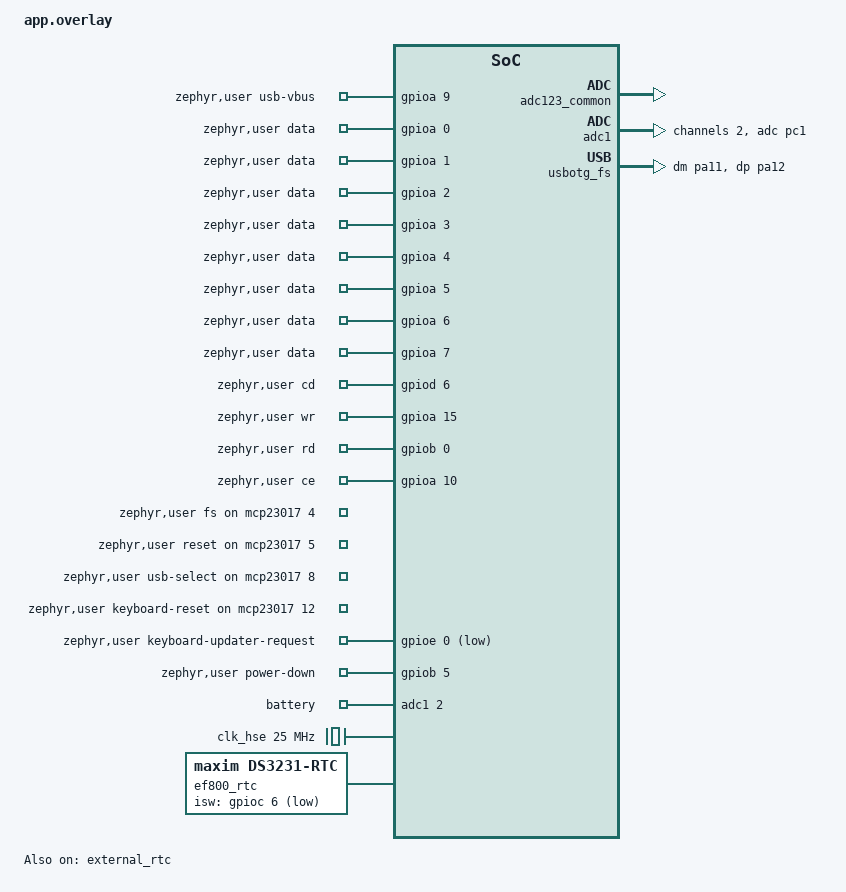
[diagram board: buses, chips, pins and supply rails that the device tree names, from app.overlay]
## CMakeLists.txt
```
# SPDX-License-Identifier: Apache-2.0
cmake_minimum_required(VERSION 3.28.0)

set(BOARD_ROOT ${CMAKE_CURRENT_LIST_DIR}/../..)
set(DTS_ROOT ${CMAKE_CURRENT_LIST_DIR}/../..)
set(PLUGIN_MANAGER_DIR "${CMAKE_CURRENT_LIST_DIR}/../../../modules/lib/PluginManager" CACHE PATH
	"PluginManager source directory")
if(NOT EXISTS "${PLUGIN_MANAGER_DIR}/zephyr/module.yml")
	message(FATAL_ERROR "PLUGIN_MANAGER_DIR is not a PluginManager source tree")
endif()
list(APPEND ZEPHYR_EXTRA_MODULES "${PLUGIN_MANAGER_DIR}")
set(KCONFIG_ROOT ${CMAKE_CURRENT_LIST_DIR}/Kconfig)

if(BOARD STREQUAL "native_sim")
	set(DTC_OVERLAY_FILE ${CMAKE_CURRENT_LIST_DIR}/native_sim.overlay)
else()
	set(DTC_OVERLAY_FILE
		${CMAKE_CURRENT_LIST_DIR}/app.overlay
		${CMAKE_CURRENT_LIST_DIR}/boards/ef800-sram.overlay)
endif()

find_package(Zephyr REQUIRED HINTS $ENV{ZEPHYR_BASE})
project(ef800_application)

set(EF800_FIRMWARE_VERSION_MANIFEST
	"${CMAKE_CURRENT_LIST_DIR}/../../firmware-versions.json")
file(READ "${EF800_FIRMWARE_VERSION_MANIFEST}" EF800_FIRMWARE_VERSION_JSON)
string(JSON EF800_APPLICATION_VERSION_STRING GET
	"${EF800_FIRMWARE_VERSION_JSON}" images ef800-application version)
string(REPLACE "." ";" EF800_APPLICATION_VERSION_PARTS
	"${EF800_APPLICATION_VERSION_STRING}")
list(GET EF800_APPLICATION_VERSION_PARTS 0 EF800_APPLICATION_VERSION_MAJOR)
list(GET EF800_APPLICATION_VERSION_PARTS 1 EF800_APPLICATION_VERSION_MINOR)
list(GET EF800_APPLICATION_VERSION_PARTS 2 EF800_APPLICATION_VERSION_PATCH)
set(EF800_GENERATED_INCLUDE_DIR "${CMAKE_CURRENT_BINARY_DIR}/generated")
file(MAKE_DIRECTORY "${EF800_GENERATED_INCLUDE_DIR}")
configure_file(
	"${CMAKE_CURRENT_LIST_DIR}/src/ef800_application_version.h.in"
	"${EF800_GENERATED_INCLUDE_DIR}/ef800_application_version.h"
	@ONLY)

if(CONFIG_EF800_APPLICATION_PLUGIN_RECOVERY_TEST_DIRECTORY)
	# The recovery-test volume contains exactly the fault and healthy fixtures.
	# Keep PluginManager's otherwise-large default discovery table bounded in
	# this dedicated image so it fits the L496 malloc arena.
	zephyr_compile_definitions(PM_MANAGER_MAX_DISCOVERED=9)
	elseif(BOARD STREQUAL "ef800")
	# Keep PluginManager's fixed discovery table bounded while supporting the
	# two serial instruments and the port-free dummy calculation package.
	zephyr_compile_definitions(PM_MANAGER_MAX_DISCOVERED=3)
endif()

include(${CMAKE_CURRENT_LIST_DIR}/ef800-application-sources.cmake)
list(LENGTH EF800_APPLICATION_COMMON_SOURCES EF800_APPLICATION_COMMON_SOURCE_COUNT)
message(STATUS "EF800 common production source manifest: ${EF800_APPLICATION_COMMON_SOURCE_COUNT} sources")
target_sources(app PRIVATE ${EF800_APPLICATION_COMMON_SOURCES})
target_include_directories(app PRIVATE
	${EF800_APPLICATION_COMMON_INCLUDE_DIRS}
	${EF800_GENERATED_INCLUDE_DIR})

if(BOARD STREQUAL "native_sim")
	target_compile_definitions(app PRIVATE PM_MANAGER_MAX_DISCOVERED=16)
	set(CGROM_SOURCE ${CMAKE_CURRENT_LIST_DIR}/../../docs/CG_RAM0101.txt)
	set(CGROM_HEADER ${CMAKE_CURRENT_BINARY_DIR}/generated/cgrom_0101.h)
	add_custom_command(
		OUTPUT ${CGROM_HEADER}
		COMMAND ${Python3_EXECUTABLE} ${CMAKE_CURRENT_LIST_DIR}/../tlx-711a/tools/generate_cgrom.py
			${CGROM_SOURCE} ${CGROM_HEADER}
		DEPENDS ${CGROM_SOURCE} ${CMAKE_CURRENT_LIST_DIR}/../tlx-711a/tools/generate_cgrom.py
	)
	add_custom_target(ef800_application_cgrom DEPENDS ${CGROM_HEADER})
	add_dependencies(app ef800_application_cgrom)
	target_include_directories(app PRIVATE ${CMAKE_CURRENT_BINARY_DIR}/generated)

		target_sources(app PRIVATE
		${CMAKE_CURRENT_LIST_DIR}/../../shared/ef800_ports/ef800_console_usb.c
		${CMAKE_CURRENT_LIST_DIR}/../../shared/ef800_ports/ef800_app_usb_msc_native.c
		${CMAKE_CURRENT_LIST_DIR}/../../shared/ef800_ports/ef800_app_usb_mtp.c
		${CMAKE_CURRENT_LIST_DIR}/../../shared/virtual_ef800/usb/virtual_ef800_usb_peer.c
		${CMAKE_CURRENT_LIST_DIR}/../../shared/ef800_watchdog/ef800_watchdog_native.c
		${CMAKE_CURRENT_LIST_DIR}/../../shared/virtual_ef800/keyboard/virtual_ef800_keyboard_controller.c
		${CMAKE_CURRENT_LIST_DIR}/../../shared/virtual_ef800/gpio/virtual_ef800_mcp23017.c
		${CMAKE_CURRENT_LIST_DIR}/../../shared/virtual_ef800/rtc/virtual_ef800_ds3231.c
		${CMAKE_CURRENT_LIST_DIR}/../../shared/virtual_ef800/gpio/virtual_ef800_gpio_emul.c
		${CMAKE_CURRENT_LIST_DIR}/../../shared/virtual_ef800/display/virtual_ef800_t6963_bus.c
		${CMAKE_CURRENT_LIST_DIR}/../../shared/virtual_ef800/gpio/virtual_ef800_wiring.c
		${CMAKE_CURRENT_LIST_DIR}/../../shared/virtual_ef800/frontpanel/virtual_ef800_frontpanel_bridge.c
		${CMAKE_CURRENT_LIST_DIR}/../../shared/virtual_ef800/serial/virtual_ef800_serial_peers.c
		${CMAKE_CURRENT_LIST_DIR}/../../shared/virtual_ef800/profile/virtual_ef800_profile.c
		${CMAKE_CURRENT_LIST_DIR}/../../shared/virtual_ef800/battery/virtual_ef800_battery.c
		${CMAKE_CURRENT_LIST_DIR}/../../shared/virtual_ef800/display/virtual_ef800_display.c
		${CMAKE_CURRENT_LIST_DIR}/../../shared/virtual_ef800/frontpanel/virtual_ef800_frontpanel.c
		${CMAKE_CURRENT_LIST_DIR}/../../shared/virtual_ef800/log/virtual_ef800_log.c
		${CMAKE_CURRENT_LIST_DIR}/../../shared/virtual_ef800/protocol/virtual_ef800_protocol.c
		${CMAKE_CURRENT_LIST_DIR}/../../shared/virtual_ef800/keyboard/virtual_ef800_keyboard.c
		${CMAKE_CURRENT_LIST_DIR}/../../application/keyboard-application/src/keyboard_key_names.c
		${CMAKE_CURRENT_LIST_DIR}/../../application/tlx-711a/src/t6963_emulator.c
	)
	target_include_directories(app PRIVATE
		${CMAKE_CURRENT_LIST_DIR}/../../shared/virtual_ef800
		${CMAKE_CURRENT_LIST_DIR}/../../shared/virtual_ef800/keyboard
		${CMAKE_CURRENT_LIST_DIR}/../../shared/virtual_ef800/display
		${CMAKE_CURRENT_LIST_DIR}/../../shared/virtual_ef800/frontpanel
		${CMAKE_CURRENT_LIST_DIR}/../../shared/virtual_ef800/log
		${CMAKE_CURRENT_LIST_DIR}/../../shared/virtual_ef800/protocol
		${CMAKE_CURRENT_LIST_DIR}/../../application/keyboard-application/src
		${CMAKE_CURRENT_LIST_DIR}/../../application/tlx-711a/src
		${CMAKE_CURRENT_LIST_DIR}/../../shared/virtual_ef800/usb
		${CMAKE_CURRENT_LIST_DIR}/../../shared/virtual_ef800/battery
		${CMAKE_CURRENT_LIST_DIR}/../../shared/virtual_ef800/core
		${CMAKE_CURRENT_LIST_DIR}/../../shared/virtual_ef800/gpio
		${CMAKE_CURRENT_LIST_DIR}/../../shared/virtual_ef800/profile
		${CMAKE_CURRENT_LIST_DIR}/../../shared/virtual_ef800/rtc
		${CMAKE_CURRENT_LIST_DIR}/../../shared/virtual_ef800/serial
		${ZEPHYR_BASE}/subsys/usb/host
	)
else()
	target_sources(app PRIVATE
		${CMAKE_CURRENT_LIST_DIR}/../../shared/ef800_lcd_contrast/ef800_lcd_contrast_stm32.c
		${CMAKE_CURRENT_LIST_DIR}/../../shared/ef800_ports/ef800_console_usb.c
		${CMAKE_CURRENT_LIST_DIR}/../../shared/ef800_ports/ef800_app_usb_msc.c
		${CMAKE_CURRENT_LIST_DIR}/../../shared/ef800_ports/ef800_app_usb_mtp.c
		${CMAKE_CURRENT_LIST_DIR}/../../shared/ef800_watchdog/ef800_watchdog.c
	)
endif()
```

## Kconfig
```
# SPDX-License-Identifier: Apache-2.0

menu "EF800 Application foundation"

config EF800_APPLICATION_BACKUP_UPDATE
	bool "Enable staged EF800 Backup package installation"
	default n
	depends on BOARD_EF800
	help
	  Expose the manual backup_update shell command. Keep disabled until the
	  fitted QSPI part, capacity, erase geometry, frequency, and existing FAT
	  volume have been verified and the full update path is qualified.

config EF800_APPLICATION_BOOTLOADER_UPDATE
	bool "Expose manually triggered EF800 Bootloader package installation"
	default n
	depends on BOARD_EF800
	help
	  Expose the bootloader_update shell command for the exact staged
	  EF800_BOOT.pkg package. Bootloader programming is never automatic.
	  Keep disabled unless the application-side flash, vector, interrupt,
	  watchdog, and recovery behavior has been reviewed and qualified.

config EF800_APPLICATION_PLUGIN_DEV_DIRECT_EXECUTION
	bool "Allow trusted development plugins to execute inline"
	default n
	help
	  Keep the legacy inline callback executor available for native_sim and
	  explicitly trusted development packages. This is not an isolation mode.
	  Production external package execution must remain disabled until the
	  unprivileged worker and mediated service gateway are enabled and qualified.

config EF800_APPLICATION_PLUGIN_WORKER_STACK_SIZE
	int "Plugin worker stack size"
	default 2048
	range 1024 8192
	depends on USERSPACE || BOARD_NATIVE_SIM
	help
	  Stack allocation for the single serialized external-plugin worker. The
	  physical EF800 worker receives MPU protection; native_sim uses this same
	  worker ABI without hardware-enforced memory isolation.

config EF800_APPLICATION_PLUGIN_USER_WORKER
	bool "Run external plugins on the worker ABI"
	default y if BOARD_NATIVE_SIM
	default n
	depends on ((BOARD_EF800 && USERSPACE) || BOARD_NATIVE_SIM) && \
		!EF800_APPLICATION_PLUGIN_DEV_DIRECT_EXECUTION
	help
	  Execute external plugin callbacks through the versioned worker ABI and
	  mediated host services. EF800 additionally runs the worker unprivileged
	  with MPU-constrained memory; native_sim emulates the worker protocol but
	  does not provide MPU isolation. This is not package-authenticity or release
	  qualification.

config EF800_APPLICATION_SRAM_TEST_FAIL
	bool "Force external SRAM validation failure for fallback testing"
	default n
	depends on BOARD_EF800
	help
	  Test-only fault injection. Forces the startup validator to reject external
	  SRAM so the internal-only startup path can be exercised on target. Never
	  enable in a product image.

config EF800_APPLICATION_FORCE_CONSOLE_FALLBACK
	bool "Force fallback console during assignment repair testing"
	default n
	depends on BOARD_EF800
	help
	  Test-only recovery option. Keeps the console on its configured fallback
	  UART while persisted port assignments are repaired. Never enable in a
	  product image.

config EF800_APPLICATION_PLUGIN_RECOVERY_TEST_DIRECTORY
	bool "Scan the recovery-test package directory in Shared Data"
	default n
	depends on EF800_APPLICATION_PLUGIN_USER_WORKER
	help
	  Test-only override that scans /DATA:/data/EF800-recovery-test instead of
	  the normal Plugins directory. Use only with a dedicated recovery-test
	  image and synthetic packages; never enable in a product build.

config EF800_APPLICATION_PROBE_FUEL_GAUGE_AT_STARTUP
	bool "Probe MAX17048 once from runtime battery sampling"
	default y
	help
		Perform one deferred fuel-gauge probe from the runtime battery worker
		after EF800 Application initialization. A missing gauge is left unavailable
		until restart; it is not retried during the current boot. Disable this
		when the target has no supported fuel-gauge source.

config EF800_APPLICATION_STORAGE_FORMAT_ON_MOUNT_FAILURE
	bool "Format the QSPI storage after a mount failure"
	default n

config EF800_APPLICATION_KEYBOARD_STARTUP_TIMEOUT_MS
	int "Keyboard startup timeout (ms)"
	default 3000
	range 1 60000
	help
	  Maximum time the EF800 Application waits for the keyboard's initialized
	  indication before continuing with the rest of the foundation.

config EF800_APPLICATION_WATCHDOG_TIMEOUT_MS
	int "Watchdog timeout (ms)"
	default 1000
	range 1 26214
	help
	  Maximum watchdog window used by the foundation watchdog task.

config EF800_APPLICATION_WATCHDOG_FEED_MS
	int "Watchdog feed period (ms)"
	default 100
	range 1 26214
	help
	  Period between watchdog feeds. Keep this below the watchdog timeout.

config EF800_APPLICATION_WATCHDOG_STACK_SIZE
	int "Watchdog task stack size"
	default 768
	range 512 4096

config EF800_USB_VID
	hex "EF800 Application USB vendor ID"
	default 0x2fe3

config EF800_USB_PID
	hex "EF800 Application USB product ID"
	default 0xef81

config EF800_APPLICATION_LCD_STATUS_TIMEOUT_US
	int "T6963 status polling timeout (us)"
	default 1000
	range 100 100000
	help
	  Maximum time spent polling the T6963 ready bits for one bus operation.
	  A bounded timeout keeps a missing or disconnected LCD from blocking the
	  EF800 Application forever.

config EF800_APPLICATION_RUNTIME_RTC_PERIOD_MS
	int "Runtime RTC sample period (ms)"
	default 1000
	range 100 60000

config EF800_APPLICATION_RUNTIME_BATTERY_PERIOD_MS
	int "Runtime battery sample period (ms)"
	default 10000
	range 1000 600000

config EF800_APPLICATION_STORAGE_FORMAT_ON_MOUNT_FAILURE
	bool "Format storage after mount failure"
	default n
	help
	  Format and retry the EF800 FAT volume when the initial mount fails.
	  Keep disabled for physical targets so a mount failure never formats a
	  fitted volume. Native simulation may enable this for disposable storage.

config EF800_APPLICATION_REFORMAT_LEGACY_QSPI
	bool "Reformat a detected legacy QSPI layout"
	default n
	help
	  If the QSPI sector-zero signature identifies the prior monolithic FAT
	  layout, format the new Configuration and Shared Data FAT partitions and
	  initialize the boot-state NVS partition. This destroys all contents of
	  the old volume. Enable only on development targets known to contain no
	  required data; keep disabled for production firmware.

config EF800_APPLICATION_FORMAT_BLANK_QSPI
	bool "Provision FAT volumes on an erased QSPI device"
	default n
	depends on FS_FATFS_MKFS
	help
	  On development hardware only, create the Configuration and Shared Data
	  FAT volumes when neither FAT partition contains a valid boot sector. The
	  formatter verifies both raw boot sectors before erasing boot-state NVS or
	  allowing normal mounts. This destroys unrecognized contents; disable for
	  production firmware.

config EF800_MCUMGR_SERIAL_TRANSPORT
	bool
	default y
	select MCUMGR_TRANSPORT_SERIAL_HAS_RAW_BINARY_NON_SMP_OVER_CONSOLE

endmenu

source "Kconfig.zephyr"
```

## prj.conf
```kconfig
# SPDX-License-Identifier: Apache-2.0
CONFIG_GPIO=y
CONFIG_SERIAL=y
CONFIG_UART_INTERRUPT_DRIVEN=y
CONFIG_UART_USE_RUNTIME_CONFIGURE=y
CONFIG_FLASH=y
CONFIG_FLASH_MAP=y
CONFIG_FLASH_PAGE_LAYOUT=y
CONFIG_DISK_DRIVERS=y
CONFIG_DISK_DRIVER_FLASH=y
CONFIG_FILE_SYSTEM=y
CONFIG_FAT_FILESYSTEM_ELM=y
CONFIG_FS_FATFS_LFN=y
CONFIG_FS_FATFS_LFN_MODE_STACK=y
CONFIG_FS_FATFS_REENTRANT=y
CONFIG_NVS=y
CONFIG_NVS_DATA_CRC=y
CONFIG_I2C=y
CONFIG_ADC=y
CONFIG_GPIO_MCP230XX=y
CONFIG_MFD=y
CONFIG_RTC_DS3231=y
CONFIG_WATCHDOG=y
CONFIG_RTC=y
CONFIG_SHELL=y
CONFIG_SHELL_BACKEND_SERIAL=n
CONFIG_SHELL_STACK_SIZE=8192
CONFIG_NET_BUF=y
CONFIG_ZCBOR=y
CONFIG_BASE64=y
CONFIG_CRC=y
CONFIG_PLUGIN_MANAGER=y
CONFIG_PLUGIN_MANAGER_ZEPHYR_FS=y
CONFIG_APPLICATION_DEFINED_SYSCALL=y
CONFIG_MCUMGR=y
CONFIG_MCUMGR_GRP_FS=y
CONFIG_MCUMGR_TRANSPORT_SHELL=y
CONFIG_MCUMGR_TRANSPORT_NETBUF_SIZE=512
CONFIG_MCUMGR_TRANSPORT_NETBUF_COUNT=8
CONFIG_MCUMGR_GRP_FS_PATH_LEN=64
CONFIG_MAIN_STACK_SIZE=8192
CONFIG_REBOOT=y

# Zephyr logging uses the board console (USART1); the keyboard protocol stays
# on the separate lpuart1 link.
CONFIG_LOG=y
CONFIG_UART_CONSOLE=n
CONFIG_LOG_BACKEND_UART=n
CONFIG_LOG_MODE_IMMEDIATE=y
CONFIG_BOOT_BANNER=y
CONFIG_LOG_DEFAULT_LEVEL=3

# The service never formats the external FAT volume on a mount failure.
CONFIG_FS_FATFS_MOUNT_MKFS=n
CONFIG_EF800_APPLICATION_STORAGE_FORMAT_ON_MOUNT_FAILURE=y
CONFIG_FILE_SYSTEM_MKFS=y
CONFIG_FS_FATFS_MKFS=y
CONFIG_EF800_APPLICATION_BACKUP_UPDATE=y
CONFIG_EF800_APPLICATION_BOOTLOADER_UPDATE=y
# Development migration only; set to n before producing production firmware.
CONFIG_EF800_APPLICATION_REFORMAT_LEGACY_QSPI=y

# The keyboard link is a binary protocol, not a console.
```

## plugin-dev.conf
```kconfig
# SPDX-License-Identifier: Apache-2.0
# DEVELOPMENT-ONLY: permits trusted local PluginManager packages to execute
# inline while the isolated worker/W^X and package-signature gates are pending.
# This is not an isolation boundary. Never use with untrusted PMP files.
CONFIG_EF800_APPLICATION_PLUGIN_DEV_DIRECT_EXECUTION=y
CONFIG_ARM_MPU=n
CONFIG_MPU_STACK_GUARD=n
```

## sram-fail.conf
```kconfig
# Test-only EF800 Application profile for on-target external-SRAM fallback checks.
CONFIG_EF800_APPLICATION_SRAM_TEST_FAIL=y
CONFIG_EF800_APPLICATION_FORCE_CONSOLE_FALLBACK=y
```

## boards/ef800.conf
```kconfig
# SPDX-License-Identifier: Apache-2.0
CONFIG_USB_DEVICE_STACK_NEXT=y
CONFIG_USBD_MSC_CLASS=y
CONFIG_USBD_MSC_LUNS_PER_INSTANCE=1
CONFIG_USBD_MSC_SCSI_BUFFER_SIZE=512
CONFIG_USBD_CDC_ACM_CLASS=y
CONFIG_USBD_MTP_CLASS=y
CONFIG_USBD_MTP_MAX_HANDLES=12
CONFIG_USBD_MTP_STORAGES_PER_INSTANCE=3
CONFIG_USBD_THREAD_STACK_SIZE=4096
CONFIG_EF800_USB_VID=0x2fe3
CONFIG_EF800_USB_PID=0xef87
CONFIG_IWDG_STM32_INITIAL_TIMEOUT=10000
CONFIG_PINCTRL=y
CONFIG_CLOCK_CONTROL=y
CONFIG_MEMC=y
CONFIG_RESET=y
CONFIG_EF800_APPLICATION_WATCHDOG_TIMEOUT_MS=10000
CONFIG_EF800_APPLICATION_PROBE_FUEL_GAUGE_AT_STARTUP=y
CONFIG_USE_DT_CODE_PARTITION=y
CONFIG_USERSPACE=y
CONFIG_ARM_MPU=y
CONFIG_MPU_STACK_GUARD=y
CONFIG_HW_STACK_PROTECTION=y
CONFIG_EXECUTE_XOR_WRITE=y
CONFIG_THREAD_STACK_INFO=y
CONFIG_THREAD_MONITOR=y
CONFIG_INIT_STACKS=y
CONFIG_EXCEPTION_DEBUG=y
CONFIG_EF800_APPLICATION_PLUGIN_USER_WORKER=y
# PluginManager scans by allocating a complete package buffer. Reserve enough
# libc arena for the manager plus the current independently packaged devices.
CONFIG_COMMON_LIBC_MALLOC_ARENA_SIZE=32768
CONFIG_CONSOLE=n
```

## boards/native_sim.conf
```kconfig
# SPDX-License-Identifier: Apache-2.0
CONFIG_EMUL=y
CONFIG_UART_EMUL=y
CONFIG_I2C_EMUL=y
CONFIG_ADC_EMUL=y
CONFIG_FILE_SYSTEM_MKFS=y
CONFIG_FS_FATFS_MKFS=y
CONFIG_FUEL_GAUGE=y
CONFIG_MAX17048=y
CONFIG_EMUL_MAX17048=y
CONFIG_CONSOLE=y
CONFIG_USE_DT_CODE_PARTITION=n
CONFIG_EF800_APPLICATION_STORAGE_FORMAT_ON_MOUNT_FAILURE=y
CONFIG_HEAP_MEM_POOL_SIZE=65536
CONFIG_EF800_APPLICATION_PLUGIN_DEV_DIRECT_EXECUTION=n
CONFIG_EF800_APPLICATION_PLUGIN_USER_WORKER=y
CONFIG_USB_DEVICE_STACK_NEXT=y
CONFIG_USB_HOST_STACK=y
CONFIG_USBD_CDC_ACM_CLASS=y
CONFIG_USBD_MTP_CLASS=y
CONFIG_USBD_MTP_MAX_HANDLES=12
CONFIG_USBD_MTP_STORAGES_PER_INSTANCE=3
CONFIG_USBD_THREAD_STACK_SIZE=4096
CONFIG_USBH_STACK_SIZE=4096
CONFIG_UDC_VIRTUAL_STACK_SIZE=2048
```

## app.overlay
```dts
/ {
	chosen {
		zephyr,keyboard-uart = &lpuart1;
		zephyr,code-partition = &main_partition;
	};

	aliases {
		status-led = &status_led;
	};

	zephyr,user {
		/* USB VBUS detection controls the QSPI-to-MSC ownership handoff. */
		usb-vbus-gpios = <&gpioa 9 GPIO_ACTIVE_HIGH>;
		/* T6963 legacy parallel data bus, PA0..PA7. */
		data-gpios = <&gpioa 0 0>, <&gpioa 1 0>, <&gpioa 2 0>,
				     <&gpioa 3 0>, <&gpioa 4 0>, <&gpioa 5 0>,
				     <&gpioa 6 0>, <&gpioa 7 0>;
		cd-gpios = <&gpiod 6 0>;
		wr-gpios = <&gpioa 15 0>;
		rd-gpios = <&gpiob 0 0>;
		ce-gpios = <&gpioa 10 0>;
		fs-gpios = <&mcp23017 4 0>;
		reset-gpios = <&mcp23017 5 0>;
		pixels-horizontal = <240>;
		pixels-vertical = <64>;
		font-width = <6>;
		memory-kb = <8>;
		usb-select-gpios = <&mcp23017 8 0>;
		keyboard-reset-gpios = <&mcp23017 12 0>;
		/* JP7 to keyboard PB12; assert low only for bootloader fallback. */
		keyboard-updater-request-gpios = <&gpioe 0 GPIO_ACTIVE_LOW>;
		power-down-gpios = <&gpiob 5 0>;
		io-channels = <&adc1 2>;
		io-channel-names = "battery";
	};
};

#include <zephyr/dt-bindings/pinctrl/stm32-pinctrl.h>
#include <zephyr/dt-bindings/gpio/gpio.h>
#include <zephyr/dt-bindings/adc/adc.h>

&pinctrl {
	battery_adc_pc1: battery_adc_pc1 {
		pinmux = <STM32_PINMUX('C', 1, ANALOG)>;
		bias-disable;
	};

	usart1_tx_pb6: usart1_tx_pb6 {
		pinmux = <STM32_PINMUX('B', 6, AF7)>;
		bias-pull-up;
		drive-push-pull;
	};

	usart1_rx_pb7: usart1_rx_pb7 {
		pinmux = <STM32_PINMUX('B', 7, AF7)>;
		bias-pull-up;
	};

	usart3_tx_pd8: usart3_tx_pd8 {
		pinmux = <STM32_PINMUX('D', 8, AF7)>;
		bias-pull-up;
		drive-push-pull;
	};

	usart3_rx_pd9: usart3_rx_pd9 {
		pinmux = <STM32_PINMUX('D', 9, AF7)>;
		bias-pull-up;
	};

	lpuart1_tx_pg7: lpuart1_tx_pg7 {
		pinmux = <STM32_PINMUX('G', 7, AF8)>;
		bias-pull-up;
		drive-push-pull;
	};

	lpuart1_rx_pc0: lpuart1_rx_pc0 {
		pinmux = <STM32_PINMUX('C', 0, AF8)>;
		bias-pull-up;
	};

	quadspi_clk_pf10: quadspi_clk_pf10 {
		pinmux = <STM32_PINMUX('F', 10, AF3)>;
	};

	quadspi_bk1_ncs_pe11: quadspi_bk1_ncs_pe11 {
		pinmux = <STM32_PINMUX('E', 11, AF10)>;
	};

	quadspi_bk1_io0_pf8: quadspi_bk1_io0_pf8 {
		pinmux = <STM32_PINMUX('F', 8, AF10)>;
	};

	quadspi_bk1_io1_pf9: quadspi_bk1_io1_pf9 {
		pinmux = <STM32_PINMUX('F', 9, AF10)>;
	};

	quadspi_bk1_io2_pf7: quadspi_bk1_io2_pf7 {
		pinmux = <STM32_PINMUX('F', 7, AF10)>;
	};

	quadspi_bk1_io3_pf6: quadspi_bk1_io3_pf6 {
		pinmux = <STM32_PINMUX('F', 6, AF10)>;
	};

	usb_otg_fs_dm_pa11: usb_otg_fs_dm_pa11 {
		pinmux = <STM32_PINMUX('A', 11, AF10)>;
	};

	usb_otg_fs_dp_pa12: usb_otg_fs_dp_pa12 {
		pinmux = <STM32_PINMUX('A', 12, AF10)>;
	};

};

&adc123_common {
	st,adc-clock-source = "SYNC";
	st,adc-prescaler = <4>;
	status = "okay";
};

&adc1 {
	pinctrl-0 = <&battery_adc_pc1>;
	pinctrl-names = "default";
	status = "okay";
	#address-cells = <1>;
	#size-cells = <0>;

	channel@2 {
		reg = <2>;
		zephyr,gain = "ADC_GAIN_1";
		zephyr,reference = "ADC_REF_INTERNAL";
		zephyr,acquisition-time = <ADC_ACQ_TIME_MAX>;
		zephyr,resolution = <12>;
	};
};

&clk_hse {
	clock-frequency = <DT_FREQ_M(25)>;
	status = "okay";
};

&clk_hsi {
	status = "disabled";
};

&pll {
	div-m = <5>;
	mul-n = <32>;
	div-p = <2>;
	div-q = <2>;
	div-r = <2>;
	clocks = <&clk_hse>;
	status = "okay";
};

&rcc {
	clocks = <&pll>;
	clock-frequency = <DT_FREQ_M(80)>;
	ahb-prescaler = <1>;
	apb1-prescaler = <1>;
	apb2-prescaler = <1>;
};

&usbotg_fs {
	pinctrl-0 = <&usb_otg_fs_dm_pa11 &usb_otg_fs_dp_pa12>;
	pinctrl-names = "default";
	status = "okay";

	cdc_acm_uart0: cdc_acm_uart0 {
		compatible = "zephyr,cdc-acm-uart";
		label = "EF800 USB CDC ACM";
		rx-fifo-size = <256>;
		tx-fifo-size = <1024>;
	};
};

/* Use the standard Zephyr DS3231 MFD/RTC split without changing the board DTS. */
&external_rtc {
	compatible = "maxim,ds3231-mfd";
	status = "okay";

	ef800_rtc: rtc {
		compatible = "maxim,ds3231-rtc";
		/* Required by the standard binding; alarms/updates stay disabled. */
		isw-gpios = <&gpioc 6 GPIO_ACTIVE_LOW>;
		status = "okay";
	};
};
```

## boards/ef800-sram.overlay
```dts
/* SPDX-License-Identifier: Apache-2.0 */

#include <zephyr/dt-bindings/pinctrl/stm32-pinctrl.h>
#include <zephyr/dt-bindings/memory-controller/stm32-fmc-nor-psram.h>

&pinctrl {
	fmc_pd0: fmc_pd0 { pinmux = <STM32_PINMUX('D', 0, AF12)>; slew-rate = "very-high-speed"; };
	fmc_pd1: fmc_pd1 { pinmux = <STM32_PINMUX('D', 1, AF12)>; slew-rate = "very-high-speed"; };
	fmc_pd4: fmc_pd4 { pinmux = <STM32_PINMUX('D', 4, AF12)>; slew-rate = "very-high-speed"; };
	fmc_pd5: fmc_pd5 { pinmux = <STM32_PINMUX('D', 5, AF12)>; slew-rate = "very-high-speed"; };
	fmc_pd7: fmc_pd7 { pinmux = <STM32_PINMUX('D', 7, AF12)>; slew-rate = "very-high-speed"; };
	fmc_pd11: fmc_pd11 { pinmux = <STM32_PINMUX('D', 11, AF12)>; slew-rate = "very-high-speed"; };
	fmc_pd12: fmc_pd12 { pinmux = <STM32_PINMUX('D', 12, AF12)>; slew-rate = "very-high-speed"; };
	fmc_pd13: fmc_pd13 { pinmux = <STM32_PINMUX('D', 13, AF12)>; slew-rate = "very-high-speed"; };
	fmc_pd14: fmc_pd14 { pinmux = <STM32_PINMUX('D', 14, AF12)>; slew-rate = "very-high-speed"; };
	fmc_pd15: fmc_pd15 { pinmux = <STM32_PINMUX('D', 15, AF12)>; slew-rate = "very-high-speed"; };
	fmc_pf0: fmc_pf0 { pinmux = <STM32_PINMUX('F', 0, AF12)>; slew-rate = "very-high-speed"; };
	fmc_pf1: fmc_pf1 { pinmux = <STM32_PINMUX('F', 1, AF12)>; slew-rate = "very-high-speed"; };
	fmc_pf2: fmc_pf2 { pinmux = <STM32_PINMUX('F', 2, AF12)>; slew-rate = "very-high-speed"; };
	fmc_pf3: fmc_pf3 { pinmux = <STM32_PINMUX('F', 3, AF12)>; slew-rate = "very-high-speed"; };
	fmc_pf4: fmc_pf4 { pinmux = <STM32_PINMUX('F', 4, AF12)>; slew-rate = "very-high-speed"; };
	fmc_pf5: fmc_pf5 { pinmux = <STM32_PINMUX('F', 5, AF12)>; slew-rate = "very-high-speed"; };
	fmc_pf12: fmc_pf12 { pinmux = <STM32_PINMUX('F', 12, AF12)>; slew-rate = "very-high-speed"; };
	fmc_pf13: fmc_pf13 { pinmux = <STM32_PINMUX('F', 13, AF12)>; slew-rate = "very-high-speed"; };
	fmc_pf14: fmc_pf14 { pinmux = <STM32_PINMUX('F', 14, AF12)>; slew-rate = "very-high-speed"; };
	fmc_pf15: fmc_pf15 { pinmux = <STM32_PINMUX('F', 15, AF12)>; slew-rate = "very-high-speed"; };
	fmc_pg0: fmc_pg0 { pinmux = <STM32_PINMUX('G', 0, AF12)>; slew-rate = "very-high-speed"; };
	fmc_pg1: fmc_pg1 { pinmux = <STM32_PINMUX('G', 1, AF12)>; slew-rate = "very-high-speed"; };
	fmc_pg2: fmc_pg2 { pinmux = <STM32_PINMUX('G', 2, AF12)>; slew-rate = "very-high-speed"; };
	fmc_pg3: fmc_pg3 { pinmux = <STM32_PINMUX('G', 3, AF12)>; slew-rate = "very-high-speed"; };
	fmc_pg4: fmc_pg4 { pinmux = <STM32_PINMUX('G', 4, AF12)>; slew-rate = "very-high-speed"; };
	fmc_pg5: fmc_pg5 { pinmux = <STM32_PINMUX('G', 5, AF12)>; slew-rate = "very-high-speed"; };
	fmc_pe0: fmc_pe0 { pinmux = <STM32_PINMUX('E', 0, AF12)>; slew-rate = "very-high-speed"; };
	fmc_pe7: fmc_pe7 { pinmux = <STM32_PINMUX('E', 7, AF12)>; slew-rate = "very-high-speed"; };
	fmc_pe8: fmc_pe8 { pinmux = <STM32_PINMUX('E', 8, AF12)>; slew-rate = "very-high-speed"; };
	fmc_pe9: fmc_pe9 { pinmux = <STM32_PINMUX('E', 9, AF12)>; slew-rate = "very-high-speed"; };
	fmc_pe10: fmc_pe10 { pinmux = <STM32_PINMUX('E', 10, AF12)>; };
};

&fmc {
	pinctrl-0 = <&fmc_pd0 &fmc_pd1 &fmc_pd4 &fmc_pd5 &fmc_pd7
		&fmc_pd11 &fmc_pd12 &fmc_pd13 &fmc_pd14 &fmc_pd15
		&fmc_pf0 &fmc_pf1 &fmc_pf2 &fmc_pf3 &fmc_pf4 &fmc_pf5
		&fmc_pf12 &fmc_pf13 &fmc_pf14 &fmc_pf15
		&fmc_pg0 &fmc_pg1 &fmc_pg2 &fmc_pg3 &fmc_pg4 &fmc_pg5
		&fmc_pe0 &fmc_pe7 &fmc_pe8 &fmc_pe9 &fmc_pe10>;
	pinctrl-names = "default";
	status = "okay";
};

&fmc_sram { status = "okay"; };
&external_sram { status = "okay"; };

&sram_bank1 {
	st,control = <STM32_FMC_DATA_ADDRESS_MUX_DISABLE
		STM32_FMC_MEMORY_TYPE_SRAM
		STM32_FMC_NORSRAM_MEM_BUS_WIDTH_8
		STM32_FMC_BURST_ACCESS_MODE_DISABLE
		STM32_FMC_WAIT_SIGNAL_POLARITY_LOW
		STM32_FMC_WAIT_TIMING_BEFORE_WS
		STM32_FMC_WRITE_OPERATION_ENABLE
		STM32_FMC_WAIT_SIGNAL_DISABLE
		STM32_FMC_EXTENDED_MODE_DISABLE
		STM32_FMC_ASYNCHRONOUS_WAIT_DISABLE
		STM32_FMC_WRITE_BURST_DISABLE
		STM32_FMC_CONTINUOUS_CLOCK_SYNC_ONLY
		STM32_FMC_WRITE_FIFO_ENABLE
		STM32_FMC_PAGE_SIZE_NONE>;
	/* 80 MHz HCLK: one setup cycle and two data/write cycles. */
	st,timing = <1 1 2 0 2 0 STM32_FMC_ACCESS_MODE_A>;
	status = "okay";
};
```

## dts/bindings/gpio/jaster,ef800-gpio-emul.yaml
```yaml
description: EF800 native-sim GPIO controller with output observation
compatible: "jaster,ef800-gpio-emul"
include: [gpio-controller.yaml, base.yaml]
properties:
  rising-edge:
    type: boolean
  falling-edge:
    type: boolean
  high-level:
    type: boolean
  low-level:
    type: boolean
  ngpios:
    type: int
    required: true
  "#gpio-cells":
    const: 2
gpio-cells:
  - pin
  - flags
```

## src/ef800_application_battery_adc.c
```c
/* SPDX-License-Identifier: Apache-2.0 */
#include "ef800_application_battery_adc.h"

#include <errno.h>

#include <zephyr/devicetree.h>
#include <zephyr/drivers/adc.h>
#include <zephyr/kernel.h>

#ifdef CONFIG_BOARD_NATIVE_SIM
#include <zephyr/drivers/adc/adc_emul.h>
#include "virtual_ef800_profile.h"
#endif

#include "ef800_battery_adc_ring.h"
#include "ef800_battery_soc.h"

static const struct adc_dt_spec battery_adc =
	ADC_DT_SPEC_GET_BY_NAME(DT_PATH(zephyr_user), battery);

int ef800_application_battery_adc_init(struct ef800_application_battery_adc *battery,
	struct ef800_battery_soc_store *store, bool store_ready)
{
	int result;

	if (battery == NULL || store == NULL) {
		return -EINVAL;
	}
	*battery = (struct ef800_application_battery_adc){
		.store = store,
		.store_ready = store_ready,
	};
	result = adc_channel_setup_dt(&battery_adc);
	if (result == 0) {
		battery->adc_ready = true;
	}
	return result;
}

int ef800_application_battery_adc_read(void *context,
	struct ef800_max17043_status *status)
{
	struct ef800_application_battery_adc *battery = context;
	struct ef800_battery_soc_table table;
	struct adc_sequence sequence = {0};
	int16_t raw_sample;
	int32_t pin_mv;
	uint16_t filtered_pin_mv;
#ifdef CONFIG_BOARD_NATIVE_SIM
	uint16_t pin_mv_input;
#endif
	int result;

	if (battery == NULL || status == NULL || !battery->adc_ready ||
		!battery->store_ready) {
		return -ENODEV;
	}
	result = ef800_battery_soc_store_get_table(battery->store, &table);
	if (result != 0) {
		return result;
	}
#ifdef CONFIG_BOARD_NATIVE_SIM
	if (!virtual_ef800_profile_available(4U)) {
		return -ENODEV;
	}
	result = ef800_battery_pin_mv_from_soc(&table,
		virtual_ef800_profile_battery_soc(), &pin_mv_input);
	if (result != 0) {
		return result;
	}
	result = adc_emul_const_value_set(battery_adc.dev,
		battery_adc.channel_id, pin_mv_input);
	if (result != 0) {
		return result;
	}
#endif
	result = adc_sequence_init_dt(&battery_adc, &sequence);
	if (result != 0) {
		return result;
	}
	sequence.buffer = &raw_sample;
	sequence.buffer_size = sizeof(raw_sample);
	result = adc_read_dt(&battery_adc, &sequence);
	if (result != 0) {
		return result;
	}
	pin_mv = raw_sample;
	result = adc_raw_to_millivolts_dt(&battery_adc, &pin_mv);
	if (result != 0 || pin_mv < 0 ||
		pin_mv > (int32_t)EF800_BATTERY_SOC_ADC_MAX_MV) {
		return result != 0 ? result : -ERANGE;
	}
	result = ef800_battery_adc_ring_push(&battery->ring,
		(uint16_t)pin_mv, &filtered_pin_mv);
	if (result != 0) {
		return result;
	}
	result = ef800_battery_soc_from_pin_mv(&table, filtered_pin_mv,
		&status->soc_percent);
	if (result == 0) {
		status->voltage_uv = (uint32_t)filtered_pin_mv * 1000U;
	}
	return result;
}
```

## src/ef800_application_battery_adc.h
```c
/* SPDX-License-Identifier: Apache-2.0 */
/** @file
 * @brief Read and filter EF800 Application battery ADC samples as SOC readings.
 */
#ifndef EF800_APPLICATION_BATTERY_ADC_H
#define EF800_APPLICATION_BATTERY_ADC_H

#include <stdbool.h>

#include "ef800_battery_soc_store.h"
#include "ef800_battery_adc_ring.h"
#include "ef800_max17043.h"

struct ef800_application_battery_adc {
	struct ef800_battery_soc_store *store;
	struct ef800_battery_adc_ring ring;
	bool store_ready;
	bool adc_ready;
};

/** @brief Bind the calibration store and configure the battery ADC channel.
 * @param battery Adapter state to initialize.
 * @param store Calibration table store used to convert voltage to SOC.
 * @param store_ready True when the calibration store is available.
 * @return 0 when ADC setup succeeds; negative errno on invalid input/setup error.
 */
int ef800_application_battery_adc_init(struct ef800_application_battery_adc *battery,
	struct ef800_battery_soc_store *store, bool store_ready);

/** @brief Sample, filter, and convert battery voltage into gauge status.
 * @param context Pointer to initialized battery ADC adapter state.
 * @param status Receives SOC percent and voltage in microvolts.
 * @return 0 on conversion; negative errno if ADC, calibration, or profile fails.
 */
int ef800_application_battery_adc_read(void *context,
	struct ef800_max17043_status *status);

#endif /* EF800_APPLICATION_BATTERY_ADC_H */
```

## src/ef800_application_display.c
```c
/* SPDX-License-Identifier: Apache-2.0 */
#include "ef800_plugin_host.h"
#include "ef800_application_display.h"
#include "ef800_workspace_browser.h"
#include "ef800_workspace_row_editor.h"

#include <errno.h>
#include <stdio.h>
#include <string.h>

#include <zephyr/sys/util.h>

void ef800_application_display_init(struct ef800_application_display *display,
			     struct ef800_t6963 *lcd, bool ready)
{
	if (display == NULL) {
		return;
	}
	memset(display, 0, sizeof(*display));
	display->lcd = lcd;
	display->ready = ready;
	display->last_battery_soc = UINT8_MAX;
}

void ef800_application_display_set_ready(struct ef800_application_display *display,
				  bool ready)
{
	if (display != NULL) {
		display->ready = ready;
	}
}

/** @brief Write a padded body row directly to the T6963 text plane.
 * @param display Display and LCD state.
 * @param row Text row to write.
 * @param text Source text, or empty text when NULL.
 * @return None; unavailable displays are ignored.
 */
static void display_raw_line(struct ef800_application_display *display, uint8_t row,
			     const char *text)
{
	char line[EF800_APPLICATION_DISPLAY_COLUMNS + 1U];
	int length;

	if (display == NULL || !display->ready || display->lcd == NULL) {
		return;
	}
	length = snprintf(line, sizeof(line), "%-40.40s", text == NULL ? "" : text);
	if (length < 0) {
		return;
	}
	(void)ef800_t6963_text_cursor(display->lcd, 0U, row);
	(void)ef800_t6963_write_string(display->lcd, line);
}

/** @brief Compose and draw the retained title and optional clock header.
 * @param display Display state containing the retained title.
 * @param title New title, or NULL to retain the current title.
 * @param clock_text Optional clock string.
 * @return None.
 */
static void display_header(struct ef800_application_display *display,
			   const char *title, const char *clock_text)
{
	char line[EF800_APPLICATION_DISPLAY_COLUMNS + 1U];
	size_t clock_length;

	if (display == NULL) {
		return;
	}

	memset(line, ' ', sizeof(line) - 1U);
	line[sizeof(line) - 1U] = '\0';
	if (title != NULL) {
		(void)snprintf(display->header_title, sizeof(display->header_title),
			"%.16s", title);
	}
	memcpy(line, display->header_title, strlen(display->header_title));
	clock_length = clock_text == NULL ? 0U : strlen(clock_text);
	if (clock_length > 5U) {
		clock_length = 5U;
	}
	if (clock_length != 0U) {
		memcpy(&line[17], clock_text, clock_length);
	}
	display_raw_line(display, 0U, line);
}

void ef800_application_display_line(struct ef800_application_display *display, uint8_t row,
			     const char *text, const char *clock_text)
{
	if (display == NULL) {
		return;
	}
	if (row == 0U) {
		display_header(display, text, clock_text);
	} else {
		display_raw_line(display, row, text);
	}
}

void ef800_application_display_clear(struct ef800_application_display *display,
			      const char *clock_text)
{
	for (uint8_t row = 0U; row < 8U; ++row) {
		ef800_application_display_line(display, row, "", clock_text);
	}
}

int ef800_application_display_draw_header_separator(
	struct ef800_application_display *display)
{
	if (display == NULL || !display->ready || display->lcd == NULL) {
		return -ENODEV;
	}
	return ef800_t6963_draw_horizontal_line(display->lcd, 8U);
}

/** @brief Draw the battery outline and fill level for the supplied SOC.
 * @param display Ready display state.
 * @param soc Battery state of charge in percent.
 * @return None.
 */
static void draw_battery_icon(struct ef800_application_display *display, uint8_t soc)
{
	static const uint16_t outline[][2] = {
		{228U, 1U}, {229U, 1U}, {230U, 1U}, {231U, 1U},
		{232U, 1U}, {233U, 1U}, {228U, 2U}, {233U, 2U},
		{234U, 2U}, {228U, 3U}, {234U, 3U}, {228U, 4U},
		{233U, 4U}, {234U, 4U}, {228U, 5U}, {229U, 5U},
		{230U, 5U}, {231U, 5U}, {232U, 5U}, {233U, 5U},
	};

	for (size_t index = 0U; index < ARRAY_SIZE(outline); ++index) {
		(void)ef800_t6963_write_pixel(display->lcd, outline[index][0],
			outline[index][1], true);
	}
	for (uint16_t x = 229U; x <= 233U; ++x) {
		bool filled = soc > (uint8_t)((x - 228U) * 20U);

		for (uint16_t y = 2U; y <= 4U; ++y) {
			(void)ef800_t6963_write_pixel(display->lcd, x, y, filled);
		}
	}
	for (uint16_t y = 2U; y <= 4U; ++y) {
		(void)ef800_t6963_write_pixel(display->lcd, 233U, y, soc > 95U);
	}
}

/** @brief Clear all pixels occupied by the battery icon.
 * @param display Ready display state.
 * @return None.
 */
static void clear_battery_icon(struct ef800_application_display *display)
{
	for (uint16_t x = 228U; x <= 234U; ++x) {
		for (uint16_t y = 1U; y <= 5U; ++y) {
			(void)ef800_t6963_write_pixel(display->lcd, x, y, false);
		}
	}
}

void ef800_application_display_battery_status(struct ef800_application_display *display,
	bool has_value, uint8_t soc_percent)
{
	if (display == NULL || !display->ready || display->lcd == NULL) {
		return;
	}
	if (has_value && display->last_battery_soc != soc_percent) {
		draw_battery_icon(display, soc_percent);
		display->last_battery_soc = soc_percent;
	} else if (!has_value && display->last_battery_soc != UINT8_MAX) {
		clear_battery_icon(display);
		display->last_battery_soc = UINT8_MAX;
	}
}

void ef800_application_display_menu(struct ef800_application_display *display,
			    const char *title, const char *workspace_label,
			    const char *const *items,
			    const char *const *shortcuts, size_t count,
			    size_t selection, const char *clock_text)
{
	char line[EF800_APPLICATION_DISPLAY_COLUMNS + 1U];

	if (display == NULL || items == NULL || shortcuts == NULL) {
		return;
	}
	ef800_application_display_clear(display, clock_text);
	ef800_application_display_line(display, 0U, title, clock_text);
	ef800_application_display_line(display, 1U,
		workspace_label == NULL ? "Workspace: none" : workspace_label,
		clock_text);
	ef800_application_display_line(display, 2U, "", clock_text);
	for (size_t index = 0U; index < 5U; ++index) {
		if (index < count) {
			(void)snprintf(line, sizeof(line), "%c %s [%s]",
				index == selection ? '>' : ' ', items[index],
				shortcuts[index]);
		} else {
			line[0] = '\0';
		}
		ef800_application_display_line(display, (uint8_t)(3U + index), line,
			clock_text);
	}
}

void ef800_application_display_list_page(struct ef800_application_display *display,
	const char *title, const char *subtitle,
	const char *const rows[4], size_t row_count, const char *footer,
	const char *clock_text)
{
	if (display == NULL || rows == NULL) {
		return;
	}
	ef800_application_display_clear(display, clock_text);
	ef800_application_display_line(display, 0U, title, clock_text);
	ef800_application_display_line(display, 1U, subtitle, clock_text);
	for (size_t row = 0U; row < 4U; ++row) {
		ef800_application_display_line(display, (uint8_t)(3U + row),
			row < row_count ? rows[row] : "", clock_text);
	}
	ef800_application_display_line(display, 7U, footer, clock_text);
}

void ef800_application_display_plugin_menu(struct ef800_application_display *display,
	const struct ef800_measurement_display *model, uint8_t port_id,
	const char *device_title, const char *clock_text)
{
	char line[EF800_APPLICATION_DISPLAY_COLUMNS + 1U];

	if (display == NULL || model == NULL) {
		return;
	}
	ef800_application_display_clear(display, clock_text);
	ef800_application_display_line(display, 0U, model->title, clock_text);
	(void)snprintf(line, sizeof(line), "Port %u: %s", port_id,
		device_title == NULL ? "assigned device" : device_title);
	ef800_application_display_line(display, 1U, line, clock_text);
	ef800_application_display_line(display, 2U, "Select action", clock_text);
	for (size_t index = 0U; index < model->row_count && index < 4U; ++index) {
		(void)snprintf(line, sizeof(line), "%c %s",
			index == model->selected_action ? '>' : ' ', model->rows[index]);
		ef800_application_display_line(display, (uint8_t)(3U + index), line,
			clock_text);
	}
	ef800_application_display_line(display, 7U, model->footer, clock_text);
}

void ef800_application_display_plugin_unavailable(struct ef800_application_display *display,
	bool show_header, bool working, const char *clock_text)
{
	if (display == NULL) {
		return;
	}
	ef800_application_display_clear(display, clock_text);
	if (show_header) {
		ef800_application_display_line(display, 0U, "Measurement plugin",
			clock_text);
	}
	ef800_application_display_line(display, 6U,
		working ? "Plugin working..." : "Plugin display unavailable",
		clock_text);
}

void ef800_application_display_workspace_view(struct ef800_application_display *display,
	const struct ef800_workspace_browser *browser, bool workspace_selected,
	const char *workspace_name, bool position_only, const char *clock_text)
{
	char line[EF800_APPLICATION_DISPLAY_COLUMNS + 1U];

	if (display == NULL || browser == NULL) {
		return;
	}
	ef800_application_display_clear(display, clock_text);
	ef800_application_display_line(display, 0U, position_only ? "Current Position" :
		"Show Measurements", clock_text);
	if (workspace_selected && workspace_name != NULL) {
		(void)snprintf(line, sizeof(line), "Workspace: %s", workspace_name);
	} else {
		(void)snprintf(line, sizeof(line), "Workspace: none");
	}
	ef800_application_display_line(display, 1U, line, clock_text);
	if (!browser->active) {
		ef800_application_display_line(display, 3U, browser->file_size == 0U ?
			"No workspace data" : "Workspace unavailable", clock_text);
		ef800_application_display_line(display, 7U, "ESC back", clock_text);
		return;
	}
	if (position_only) {
		ef800_application_display_line(display, 3U, browser->line_count == 0U ?
			"No position" : browser->lines[0], clock_text);
		ef800_application_display_line(display, 7U, "ESC back", clock_text);
		return;
	}
	for (size_t row = 0U; row < EF800_WORKSPACE_BROWSER_ROWS; ++row) {
		if (row >= browser->line_count) {
			ef800_application_display_line(display, (uint8_t)(3U + row), "",
				clock_text);
			continue;
		}
		line[0] = row == browser->selected_row ? '>' : ' ';
		line[1] = ' ';
		(void)snprintf(&line[2], sizeof(line) - 2U, "%.*s",
			(int)(EF800_WORKSPACE_BROWSER_COLUMNS - 2U),
			browser->lines[row]);
		ef800_application_display_line(display, (uint8_t)(3U + row), line,
			clock_text);
	}
	ef800_application_display_line(display, 7U,
		"UP/DOWN select ENTER actions", clock_text);
}

void ef800_application_display_workspace_row_confirmation(
	struct ef800_application_display *display, const char *selected_row,
	const char *clock_text)
{
	if (display == NULL) {
		return;
	}
	ef800_application_display_clear(display, clock_text);
	ef800_application_display_line(display, 0U, "Delete selected row?", clock_text);
	if (selected_row != NULL) {
		ef800_application_display_line(display, 2U, selected_row, clock_text);
	}
	ef800_application_display_line(display, 5U, "ENTER confirm delete", clock_text);
	ef800_application_display_line(display, 6U, "ESC cancel", clock_text);
}

void ef800_application_display_workspace_row_editor(struct ef800_application_display *display,
	struct ef800_workspace_row_editor *editor, const char *workspace_name,
	const char *clock_text)
{
	char line[EF800_APPLICATION_DISPLAY_COLUMNS + 1U];
	char caret_line[EF800_APPLICATION_DISPLAY_COLUMNS];
	const size_t view_width = EF800_APPLICATION_DISPLAY_COLUMNS - 1U;
	size_t visible_length;
	size_t caret_column;

	if (display == NULL || editor == NULL) {
		return;
	}
	if (editor->caret < editor->viewport_start) {
		editor->viewport_start = editor->caret;
	} else if (editor->caret > editor->viewport_start + view_width) {
		editor->viewport_start = editor->caret - view_width;
	}
	ef800_application_display_clear(display, clock_text);
	ef800_application_display_line(display, 0U, "Modify workspace row", clock_text);
	(void)snprintf(line, sizeof(line), "Workspace: %s",
		workspace_name == NULL ? "" : workspace_name);
	ef800_application_display_line(display, 1U, line, clock_text);
	ef800_application_display_line(display, 2U, editor->insert_mode ?
		"INSERT (INS toggles)" : "OVERWRITE (INS toggles)", clock_text);
	visible_length = editor->length > editor->viewport_start ?
		MIN(view_width, editor->length - editor->viewport_start) : 0U;
	if (visible_length != 0U) {
		memcpy(line, &editor->text[editor->viewport_start], visible_length);
	}
	line[visible_length] = '\0';
	ef800_application_display_line(display, 3U, line, clock_text);
	memset(caret_line, ' ', view_width);
	caret_column = editor->caret - editor->viewport_start;
	if (caret_column > view_width) {
		caret_column = view_width;
	}
	caret_line[caret_column] = '^';
	caret_line[view_width] = '\0';
	ef800_application_display_line(display, 4U, caret_line, clock_text);
	ef800_application_display_line(display, 6U, "BACKSPACE/DEL remove", clock_text);
	ef800_application_display_line(display, 7U, "ENTER save  ESC cancel",
		clock_text);
}
```

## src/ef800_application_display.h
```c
/* SPDX-License-Identifier: Apache-2.0 */
/** @file
 * @brief Render EF800 Application menus and domain views through the T6963 API.
 */
#ifndef EF800_APPLICATION_DISPLAY_H
#define EF800_APPLICATION_DISPLAY_H

#include <stdbool.h>
#include <stdint.h>
#include <stddef.h>

#include "ef800_t6963.h"

struct ef800_measurement_display;
struct ef800_workspace_browser;
struct ef800_workspace_row_editor;

#define EF800_APPLICATION_DISPLAY_COLUMNS 40U

struct ef800_application_display {
	struct ef800_t6963 *lcd;
	bool ready;
	uint8_t last_battery_soc;
	char header_title[17];
};

/** @brief Initialize display state and bind the LCD device.
 * @param display State to initialize; ignored when NULL.
 * @param lcd T6963 device used for rendering.
 * @param ready Whether the LCD is initialized and usable.
 * @return None.
 */
void ef800_application_display_init(struct ef800_application_display *display,
			     struct ef800_t6963 *lcd, bool ready);

/** @brief Update whether subsequent drawing operations are permitted.
 * @param display Display state to update.
 * @param ready True when the LCD is available.
 * @return None.
 */
void ef800_application_display_set_ready(struct ef800_application_display *display,
				  bool ready);

/** @brief Render one padded text row, preserving the header clock/title layout.
 * @param display Display state and LCD binding.
 * @param row Text row index, from 0 through 7.
 * @param text Text to draw; NULL clears the body row or retains header title.
 * @param clock_text Optional clock text for the header row.
 * @return None; unavailable displays are ignored.
 */
void ef800_application_display_line(struct ef800_application_display *display, uint8_t row,
			     const char *text, const char *clock_text);

/** @brief Clear all text rows while retaining the supplied clock in the header.
 * @param display Display to clear.
 * @param clock_text Optional clock text for the header row.
 * @return None.
 */
void ef800_application_display_clear(struct ef800_application_display *display,
			      const char *clock_text);

/** @brief Draw the fixed horizontal separator below the display header.
 * @param display Display with an initialized LCD.
 * @return 0 on success or a negative errno if unavailable or drawing fails.
 */
int ef800_application_display_draw_header_separator(
	struct ef800_application_display *display);

/** @brief Draw or clear the battery icon only when its displayed state changes.
 * @param display Display state and LCD binding.
 * @param has_value True when a valid state-of-charge value is available.
 * @param soc_percent Battery state of charge in percent.
 * @return None.
 */
void ef800_application_display_battery_status(struct ef800_application_display *display,
	bool has_value, uint8_t soc_percent);

/** @brief Render a five-entry menu with selection and shortcut indicators.
 * @param display Display used for rendering.
 * @param title Menu title.
 * @param workspace_label Workspace line, or NULL for the default label.
 * @param items Menu item labels.
 * @param shortcuts Shortcut labels corresponding to items.
 * @param count Number of available entries.
 * @param selection Selected entry index.
 * @param clock_text Optional header clock text.
 * @return None.
 */
void ef800_application_display_menu(struct ef800_application_display *display,
			    const char *title, const char *workspace_label,
			    const char *const *items,
			    const char *const *shortcuts, size_t count,
			    size_t selection, const char *clock_text);

/** @brief Render a titled page with up to four rows and a footer.
 * @param display Display used for rendering.
 * @param title Page title.
 * @param subtitle Text shown below the title.
 * @param rows Four row strings; entries beyond row_count are blanked.
 * @param row_count Number of populated rows, up to four.
 * @param footer Instruction text shown on the last row.
 * @param clock_text Optional header clock text.
 * @return None.
 */
void ef800_application_display_list_page(struct ef800_application_display *display,
	const char *title, const char *subtitle,
	const char *const rows[4], size_t row_count, const char *footer,
	const char *clock_text);

/** @brief Render the bounded action model supplied by a measurement plugin.
 * @param display Display used for rendering.
 * @param model Bounded title, rows, selection, and footer model.
 * @param port_id Assigned measurement port identifier.
 * @param device_title Assigned device label, or a default when NULL.
 * @param clock_text Optional header clock text.
 * @return None.
 */
void ef800_application_display_plugin_menu(struct ef800_application_display *display,
	const struct ef800_measurement_display *model, uint8_t port_id,
	const char *device_title, const char *clock_text);

/** @brief Render plugin working/unavailable status.
 * @param display Display used for rendering.
 * @param show_header True to draw the plugin page header.
 * @param working True to show the in-progress message.
 * @param clock_text Optional header clock text.
 * @return None.
 */
void ef800_application_display_plugin_unavailable(struct ef800_application_display *display,
	bool show_header, bool working, const char *clock_text);

/** @brief Render the selected workspace rows or current-position view.
 * @param display Display used for rendering.
 * @param browser Current bounded browser state.
 * @param workspace_selected True when a workspace is selected.
 * @param workspace_name Selected workspace name, when available.
 * @param position_only True to render the one-row current-position view.
 * @param clock_text Optional header clock text.
 * @return None.
 */
void ef800_application_display_workspace_view(struct ef800_application_display *display,
	const struct ef800_workspace_browser *browser, bool workspace_selected,
	const char *workspace_name, bool position_only, const char *clock_text);

/** @brief Render confirmation instructions and the row being deleted.
 * @param display Display used for rendering.
 * @param selected_row Text of the selected row, or NULL.
 * @param clock_text Optional header clock text.
 * @return None.
 */
void ef800_application_display_workspace_row_confirmation(
	struct ef800_application_display *display, const char *selected_row,
	const char *clock_text);

/** @brief Render the row editor, caret, and bounded horizontal viewport.
 * @param display Display used for rendering.
 * @param editor Mutable editor state whose viewport may be adjusted.
 * @param workspace_name Name shown in the editor heading.
 * @param clock_text Optional header clock text.
 * @return None.
 */
void ef800_application_display_workspace_row_editor(struct ef800_application_display *display,
	struct ef800_workspace_row_editor *editor, const char *workspace_name,
	const char *clock_text);

#endif /* EF800_APPLICATION_DISPLAY_H */
```
